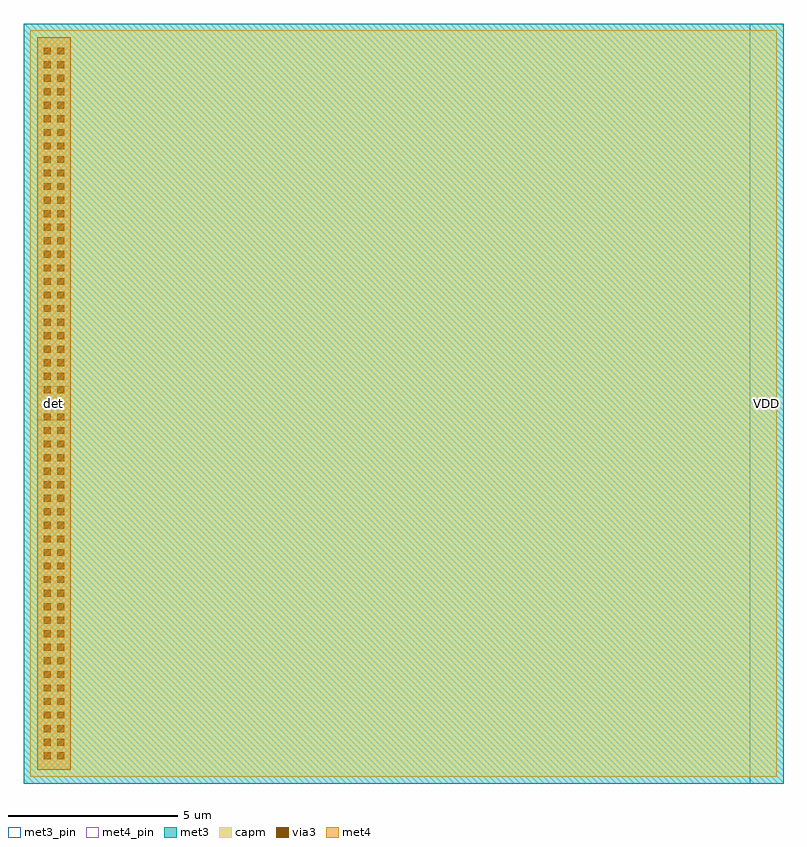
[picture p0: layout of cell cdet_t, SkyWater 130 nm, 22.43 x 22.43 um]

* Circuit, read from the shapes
.subckt cdet_t VDD det
XC1 det VDD sky130_fd_pr__cap_mim_m3_1 w=22.035 l=22.035
.ends

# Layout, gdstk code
import gdstk
lib = gdstk.Library(unit=1e-6, precision=1e-09)
def R(c, l, rs):  # rectangles x0, y0, x1, y1
    for r in rs: c.add(gdstk.rectangle(r[:2], r[2:], *l))
def A(c, l, x, y, w, h, nx, ny, dx, dy):  # array of equal rectangles
    R(c, l, [(x+i*dx, y+j*dy, x+i*dx+w, y+j*dy+h) for i in range(nx) for j in range(ny)])
met3_pin = (70, 16)
met3 = (70, 20)
via3 = (70, 44)
met4_pin = (71, 16)
met4 = (71, 20)
capm = (89, 44)

cdet_t = lib.new_cell('cdet_t')
R(cdet_t, met3_pin, [(21.435,0,22.435,22.435)])
R(cdet_t, met3, [(0,0,22.435,22.435)])
A(cdet_t, via3, 0.6, 0.72, 0.2, 0.2, 1, 53, 0, 0.4)
A(cdet_t, via3, 1, 0.72, 0.2, 0.2, 1, 53, 0, 0.4)
R(cdet_t, met4_pin, [(0.4,10.72,1.4,11.72)])
R(cdet_t, met4, [(0.4,0.4,1.4,22.035)])
R(cdet_t, capm, [(0.2,0.2,22.235,22.235)])
cdet_t.add(gdstk.Label('det', (0.9,11.22), layer=71, texttype=5))
cdet_t.add(gdstk.Label('VDD', (21.935,11.218), layer=70, texttype=5))

lib.write_gds('cdet_t.gds')
